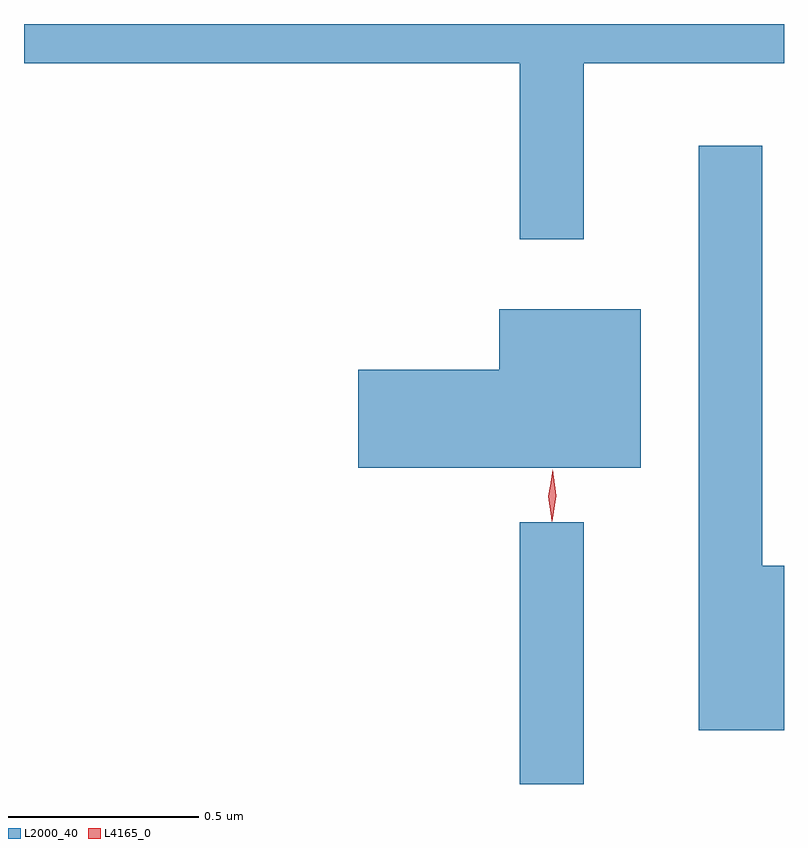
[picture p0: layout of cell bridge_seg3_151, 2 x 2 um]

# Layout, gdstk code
import gdstk
lib = gdstk.Library(unit=1e-6, precision=1e-09)
def R(c, l, rs):  # rectangles x0, y0, x1, y1
    for r in rs: c.add(gdstk.rectangle(r[:2], r[2:], *l))
def P(c, l, *ps):  # polygons
    for p in ps: c.add(gdstk.Polygon(p, *l))
L2000_40 = (2000, 40)
L4165_0 = (4165, 0)

bridge_seg3_151 = lib.new_cell('bridge_seg3_151')
R(bridge_seg3_151, L2000_40, [(822.151,1199.599,822.319,1200.288)])
P(bridge_seg3_151, L2000_40, [(822.319,1201.496),(822.846,1201.496),(822.846,1201.599),(820.846,1201.599),(820.846,1201.496),(822.151,1201.496),(822.151,1201.033),(822.319,1201.033)],
  [(822.846,1200.174),(822.789,1200.174),(822.789,1201.278),(822.621,1201.278),(822.621,1199.741),(822.846,1199.741)],
  [(822.469,1200.849),(822.096,1200.849),(822.096,1200.689),(821.726,1200.689),(821.726,1200.431),(822.469,1200.431)])
P(bridge_seg3_151, L4165_0, [(822.235,1200.29),(822.227,1200.358),(822.237,1200.426),(822.238,1200.426),(822.238,1200.426),(822.247,1200.358),(822.236,1200.29),(822.236,1200.29)],
  [(822.235,1200.293),(822.235,1200.293),(822.226,1200.356),(822.237,1200.419),(822.237,1200.42),(822.238,1200.419),(822.246,1200.356),(822.236,1200.293)])

lib.write_gds('bridge_seg3_151.gds')
